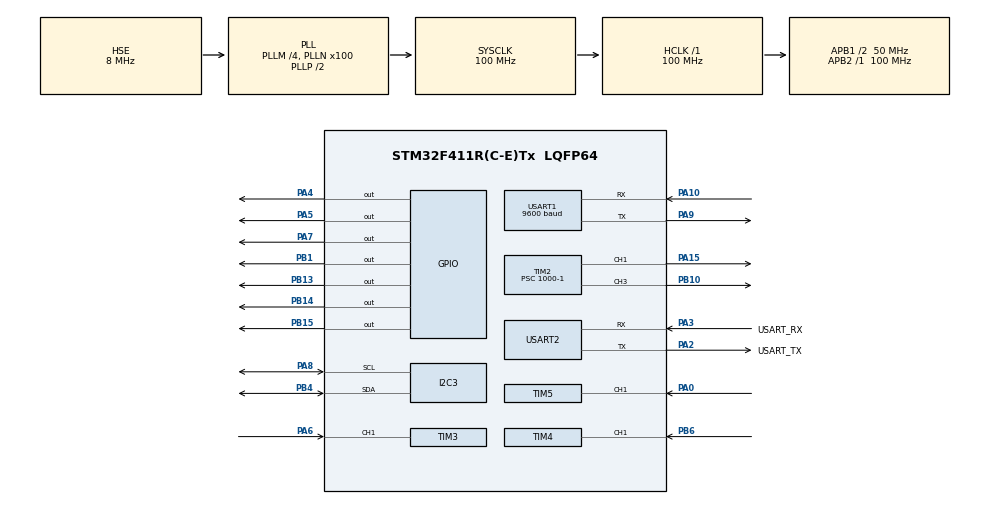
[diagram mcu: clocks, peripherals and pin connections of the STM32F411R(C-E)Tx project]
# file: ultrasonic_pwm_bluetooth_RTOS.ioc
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Dma.Request0=USART1_RX
Dma.USART1_RX.0.Direction=DMA_PERIPH_TO_MEMORY
Dma.USART1_RX.0.FIFOMode=DMA_FIFOMODE_DISABLE
Dma.USART1_RX.0.Instance=DMA2_Stream2
Dma.USART1_RX.0.MemDataAlignment=DMA_MDATAALIGN_BYTE
Dma.USART1_RX.0.MemInc=DMA_MINC_ENABLE
Dma.USART1_RX.0.Mode=DMA_CIRCULAR
Dma.USART1_RX.0.PeriphDataAlignment=DMA_PDATAALIGN_BYTE
Dma.USART1_RX.0.PeriphInc=DMA_PINC_DISABLE
Dma.USART1_RX.0.Priority=DMA_PRIORITY_LOW
FREERTOS.Tasks01=Task_Sonic1,2,128,Sonic1,Default,NULL,Dynamic,NULL,NULL;Task_Enable_PWM,-3,128,Enable_PWM,Default,NULL,Dynamic,NULL,NULL;Task_UART,-3,128,UART,Default,NULL,Dynamic,NULL,NULL;Task_LCD,-2,128,LCD,Default,NULL,Dynamic,NULL,NULL
FREERTOS.configLIBRARY_MAX_SYSCALL_INTERRUPT_PRIORITY=6
FREERTOS.configUSE_NEWLIB_REENTRANT=1
Mcu.Family=STM32F4
Mcu.Name=STM32F411R(C-E)Tx
Mcu.Package=LQFP64
NVIC.DMA2_Stream2_IRQn=true\:6\:0\:false\:false\:true\:true\:false\:true\:true
NVIC.PriorityGroup=NVIC_PRIORITYGROUP_4
NVIC.TIM1_UP_TIM10_IRQn=true\:15\:0\:false\:false\:true\:false\:false\:true\:true
NVIC.TIM3_IRQn=true\:6\:0\:false\:false\:true\:true\:true\:true\:true
NVIC.TIM4_IRQn=true\:6\:0\:false\:false\:true\:true\:true\:true\:true
NVIC.TIM5_IRQn=true\:6\:0\:false\:false\:true\:true\:true\:true\:true
NVIC.TimeBase=TIM1_UP_TIM10_IRQn
NVIC.TimeBaseIP=TIM1
PA0-WKUP.Signal=S_TIM5_CH1
PA10.Mode=Asynchronous
PA10.Signal=USART1_RX
PA13.GPIO_Label=TMS
PA13.Mode=Serial_Wire
PA13.Signal=SYS_JTMS-SWDIO
PA14.GPIO_Label=TCK
PA14.Mode=Serial_Wire
PA14.Signal=SYS_JTCK-SWCLK
PA15.Signal=S_TIM2_CH1_ETR
PA2.GPIO_Label=USART_TX
PA2.Mode=Asynchronous
PA2.Signal=USART2_TX
PA3.GPIO_Label=USART_RX
PA3.Mode=Asynchronous
PA3.Signal=USART2_RX
PA4.Signal=GPIO_Output
PA5.Signal=GPIO_Output
PA6.Signal=S_TIM3_CH1
PA7.Signal=GPIO_Output
PA8.Mode=I2C
PA8.Signal=I2C3_SCL
PA9.Mode=Asynchronous
PA9.Signal=USART1_TX
PB1.Signal=GPIO_Output
PB10.Signal=S_TIM2_CH3
PB13.Signal=GPIO_Output
PB14.Signal=GPIO_Output
PB15.Signal=GPIO_Output
PB3.GPIO_Label=SWO
PB3.Signal=SYS_JTDO-SWO
PB4.Mode=I2C
PB4.Signal=I2C3_SDA
PB6.Signal=S_TIM4_CH1
PC14-OSC32_IN.Signal=RCC_OSC32_IN
PC15-OSC32_OUT.Signal=RCC_OSC32_OUT
PH0\ -\ OSC_IN.Mode=HSE-External-Oscillator
PH0\ -\ OSC_IN.Signal=RCC_OSC_IN
PH1\ -\ OSC_OUT.Mode=HSE-External-Oscillator
PH1\ -\ OSC_OUT.Signal=RCC_OSC_OUT
ProjectManager.HeapSize=0x200
ProjectManager.StackSize=0x400
ProjectManager.TargetToolchain=STM32CubeIDE
RCC.48MHZClocksFreq_Value=50000000
RCC.AHBFreq_Value=100000000
RCC.APB1CLKDivider=RCC_HCLK_DIV2
RCC.APB1Freq_Value=50000000
RCC.APB1TimFreq_Value=100000000
RCC.APB2Freq_Value=100000000
RCC.APB2TimFreq_Value=100000000
RCC.CortexFreq_Value=100000000
RCC.FLatency-AdvancedSettings=FLASH_LATENCY_3
RCC.HCLKFreq_Value=100000000
RCC.HSE_VALUE=8000000
RCC.HSI_VALUE=16000000
RCC.LSE_VALUE=32768
RCC.PLLM=4
RCC.PLLN=100
RCC.PLLSourceVirtual=RCC_PLLSOURCE_HSE
RCC.RCC_RTC_Clock_Source=RCC_RTCCLKSOURCE_LSI
RCC.RCC_RTC_Clock_SourceVirtual=RCC_RTCCLKSOURCE_LSI
RCC.SYSCLKFreq_VALUE=100000000
RCC.SYSCLKSource=RCC_SYSCLKSOURCE_PLLCLK
RCC.VCOOutputFreq_Value=200000000
SH.S_TIM2_CH1_ETR.0=TIM2_CH1,PWM Generation1 CH1
SH.S_TIM2_CH3.0=TIM2_CH3,PWM Generation3 CH3
SH.S_TIM3_CH1.0=TIM3_CH1,Input_Capture1_from_TI1
SH.S_TIM4_CH1.0=TIM4_CH1,Input_Capture1_from_TI1
SH.S_TIM5_CH1.0=TIM5_CH1,Input_Capture1_from_TI1
TIM2.Channel-PWM\ Generation1\ CH1=TIM_CHANNEL_1
TIM2.Channel-PWM\ Generation3\ CH3=TIM_CHANNEL_3
TIM2.Period=10000
TIM2.Prescaler=1000-1
TIM2.Pulse-PWM\ Generation1\ CH1=10000
TIM2.Pulse-PWM\ Generation3\ CH3=10000
TIM3.Channel-Input_Capture1_from_TI1=TIM_CHANNEL_1
TIM3.Prescaler=100-1
TIM4.Channel-Input_Capture1_from_TI1=TIM_CHANNEL_1
TIM4.Prescaler=100-1
TIM5.Channel-Input_Capture1_from_TI1=TIM_CHANNEL_1
TIM5.Prescaler=100-1
USART1.BaudRate=9600
USART1.VirtualMode=VM_ASYNC
USART2.VirtualMode=VM_ASYNC
VP_FREERTOS_VS_CMSIS_V1.Mode=CMSIS_V1
VP_SYS_VS_tim1.Mode=TIM1
VP_TIM3_VS_ClockSourceINT.Mode=Internal
VP_TIM4_VS_ClockSourceINT.Mode=Internal
VP_TIM5_VS_ClockSourceINT.Mode=Internal
board=NUCLEO-F411RE

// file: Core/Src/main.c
/* USER CODE BEGIN Header */
/**
  ******************************************************************************
  * @file           : main.c
  * @brief          : Main program body
  ******************************************************************************
  * @attention
  *
  * Copyright (c) 2023 STMicroelectronics.
  * All rights reserved.
  *
  * This software is licensed under terms that can be found in the LICENSE file
  * in the root directory of this software component.
  * If no LICENSE file comes with this software, it is provided AS-IS.
  *
  ******************************************************************************
  */
/* USER CODE END Header */
#include "main.h"
#include "cmsis_os.h"
#include "dma.h"
#include "i2c.h"
#include "tim.h"
#include "usart.h"
#include "gpio.h"

/* USER CODE BEGIN PV */
extern uint8_t rxData[1];
/* USER CODE END PV */

void SystemClock_Config(void);
void MX_FREERTOS_Init(void);

int main(void)
{

  /* MCU Configuration--------------------------------------------------------*/

  /* Reset of all peripherals, Initializes the Flash interface and the Systick. */
  HAL_Init();

  /* Configure the system clock */
  SystemClock_Config();

  /* Initialize all configured peripherals */
  MX_GPIO_Init();
  MX_DMA_Init();
  MX_TIM2_Init();
  MX_TIM3_Init();
  MX_TIM4_Init();
  MX_TIM5_Init();
  MX_USART2_UART_Init();
  MX_USART1_UART_Init();
  MX_I2C3_Init();
  /* USER CODE BEGIN 2 */
  //HAL_UART_Receive_DMA(&huart1, &rxData, sizeof(rxData));
  HAL_TIM_IC_Start_IT(&htim3, TIM_CHANNEL_1);
  HAL_TIM_IC_Start_IT(&htim4, TIM_CHANNEL_1);
  HAL_TIM_IC_Start_IT(&htim5, TIM_CHANNEL_1);
//  HAL_TIM_IC_Start_IT(&htim10, TIM_CHANNEL_1);
//  HAL_TIM_IC_Start_IT(&htim11, TIM_CHANNEL_1);
  HAL_TIM_PWM_Start(&htim2, TIM_CHANNEL_1);
  HAL_TIM_PWM_Start(&htim2, TIM_CHANNEL_3);
//  HAL_TIM_PWM_Start_DMA(&htim2, TIM_CHANNEL_1, &wheelLeft, sizeof(wheelLeft));
//  HAL_TIM_PWM_Start_DMA(&htim2, TIM_CHANNEL_3, &wheelRight, sizeof(wheelRight));
//  HAL_TIM_PWM_Start_DMA(&htim2, TIM_CHANNEL_1, &rxData, sizeof(rxData));
//  HAL_TIM_PWM_Start_DMA(&htim2, TIM_CHANNEL_3, &rxData, sizeof(rxData));
  HAL_UART_Receive_DMA(&huart1, rxData, sizeof(rxData));

  __HAL_TIM_DISABLE_IT(&htim3, TIM_IT_CC1);
  __HAL_TIM_DISABLE_IT(&htim4, TIM_IT_CC1);
  __HAL_TIM_DISABLE_IT(&htim5, TIM_IT_CC1);
//  __HAL_TIM_DISABLE_IT(&htim10, TIM_IT_CC1);
//  __HAL_TIM_DISABLE_IT(&htim11, TIM_IT_CC1);
  /* USER CODE END 2 */

  /* Call init function for freertos objects (in freertos.c) */
  MX_FREERTOS_Init();

  /* Start scheduler */
  osKernelStart();

  /* We should never get here as control is now taken by the scheduler */
  /* Infinite loop */
  while (1)
  {

  }
}

void SystemClock_Config(void)
{
  RCC_OscInitTypeDef RCC_OscInitStruct = {0};
  RCC_ClkInitTypeDef RCC_ClkInitStruct = {0};

  /** Configure the main internal regulator output voltage
  */
  __HAL_RCC_PWR_CLK_ENABLE();
  __HAL_PWR_VOLTAGESCALING_CONFIG(PWR_REGULATOR_VOLTAGE_SCALE1);

  /** Initializes the RCC Oscillators according to the specified parameters
  * in the RCC_OscInitTypeDef structure.
  */
  RCC_OscInitStruct.OscillatorType = RCC_OSCILLATORTYPE_HSE;
  RCC_OscInitStruct.HSEState = RCC_HSE_ON;
  RCC_OscInitStruct.PLL.PLLState = RCC_PLL_ON;
  RCC_OscInitStruct.PLL.PLLSource = RCC_PLLSOURCE_HSE;
  RCC_OscInitStruct.PLL.PLLM = 4;
  RCC_OscInitStruct.PLL.PLLN = 100;
  RCC_OscInitStruct.PLL.PLLP = RCC_PLLP_DIV2;
  RCC_OscInitStruct.PLL.PLLQ = 4;
  if (HAL_RCC_OscConfig(&RCC_OscInitStruct) != HAL_OK)
  {
    Error_Handler();
  }

  /** Initializes the CPU, AHB and APB buses clocks
  */
  RCC_ClkInitStruct.ClockType = RCC_CLOCKTYPE_HCLK|RCC_CLOCKTYPE_SYSCLK
                              |RCC_CLOCKTYPE_PCLK1|RCC_CLOCKTYPE_PCLK2;
  RCC_ClkInitStruct.SYSCLKSource = RCC_SYSCLKSOURCE_PLLCLK;
  RCC_ClkInitStruct.AHBCLKDivider = RCC_SYSCLK_DIV1;
  RCC_ClkInitStruct.APB1CLKDivider = RCC_HCLK_DIV2;
  RCC_ClkInitStruct.APB2CLKDivider = RCC_HCLK_DIV1;

  if (HAL_RCC_ClockConfig(&RCC_ClkInitStruct, FLASH_LATENCY_3) != HAL_OK)
  {
    Error_Handler();
  }
}

void HAL_TIM_PeriodElapsedCallback(TIM_HandleTypeDef *htim)
{
  if (htim->Instance == TIM1) {
    HAL_IncTick();
  }
}

void Error_Handler(void)
{
  __disable_irq();
  while (1)
  {
  }
}

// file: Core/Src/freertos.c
/* USER CODE BEGIN Header */
/**
  ******************************************************************************
  * File Name          : freertos.c
  * Description        : Code for freertos applications
  ******************************************************************************
  * @attention
  *
  * Copyright (c) 2023 STMicroelectronics.
  * All rights reserved.
  *
  * This software is licensed under terms that can be found in the LICENSE file
  * in the root directory of this software component.
  * If no LICENSE file comes with this software, it is provided AS-IS.
  *
  ******************************************************************************
  */
/* USER CODE END Header */

#include "FreeRTOS.h"
#include "task.h"
#include "main.h"
#include "cmsis_os.h"

/* USER CODE BEGIN Includes */
#include "delay.h"
#include "stdio.h"
#include "dma.h"
#include "tim.h"
#include "usart.h"
#include "gpio.h"
#include "I2C_LCD.h"
#include "i2c.h"
/* USER CODE END Includes */

/* USER CODE BEGIN PTD */
#define TRIG1_PORT       GPIOA
#define TRIG1_PIN        GPIO_PIN_5

#define TRIG2_PORT       GPIOA
#define TRIG2_PIN        GPIO_PIN_4

#define TRIG3_PORT       GPIOA
#define TRIG3_PIN        GPIO_PIN_7

//#define TRIG4_PORT       GPIOC
//#define TRIG4_PIN        GPIO_PIN_9
//
//#define TRIG5_PORT       GPIOC
//#define TRIG5_PIN        GPIO_PIN_8

#define wheelLeftEnFW_PORT      GPIOB
#define wheelLeftEnBW_PORT      GPIOB
#define wheelRightEnBW_PORT     GPIOB
#define wheelRightEnFW_PORT     GPIOB
#define wheelLeftEnFW_PIN      GPIO_PIN_1
#define wheelLeftEnBW_PIN      GPIO_PIN_15
#define wheelRightEnBW_PIN     GPIO_PIN_14
#define wheelRightEnFW_PIN     GPIO_PIN_13

#define speed100	10000
#define speed75		speed100*3/4
#define speed50		speed100/2
#define speed25		speed100/4
/* USER CODE END PTD */

/* USER CODE BEGIN PM */
#ifdef __GNUC__
  /* With GCC, small printf (option LD Linker->Libraries->Small printf
     set to 'Yes') calls __io_putchar() */
  #define PUTCHAR_PROTOTYPE int __io_putchar(int ch)
#else
  #define PUTCHAR_PROTOTYPE int fputc(int ch, FILE *f)
#endif /* __GNUC__ */
PUTCHAR_PROTOTYPE
{
  /* Place your implementation of fputc here */
  /* e.g. write a character to the EVAL_COM1 and Loop until the end of transmission */
  HAL_UART_Transmit(&huart2, (uint8_t *)&ch, 1, 0xFFFF);
  HAL_UART_Transmit(&huart1, (uint8_t *)&ch, 1, 0xFFFF);
  return ch;
}
/* USER CODE END PM */

/* USER CODE BEGIN Variables */
uint32_t INC_Value1_1 = 0;
uint32_t INC_Value1_2 = 0;
uint32_t INC_Value2_1 = 0;
uint32_t INC_Value2_2 = 0;
uint32_t INC_Value3_1 = 0;
uint32_t INC_Value3_2 = 0;
//uint32_t INC_Value4_1 = 0;
//uint32_t INC_Value4_2 = 0;
//uint32_t INC_Value5_1 = 0;
//uint32_t INC_Value5_2 = 0;
uint32_t echoTime1 = 0;
uint32_t echoTime2 = 0;
uint32_t echoTime3 = 0;
//uint32_t echoTime4 = 0;
//uint32_t echoTime5 = 0;
uint8_t captureFlag1 = 0;
uint8_t captureFlag2 = 0;
uint8_t captureFlag3 = 0;
//uint8_t captureFlag4 = 0;
//uint8_t captureFlag5 = 0;
uint8_t distance1;
uint8_t distance2;
uint8_t distance3;
//uint8_t distance4;
//uint8_t distance5;

uint8_t rxData[1] = {0};

char buff1[16];
char buff2[16];

/* USER CODE END Variables */
osThreadId Task_Sonic1Handle;
osThreadId Task_Enable_PWMHandle;
osThreadId Task_UARTHandle;
osThreadId Task_LCDHandle;

/* USER CODE BEGIN FunctionPrototypes */
void HAL_TIM_IC_CaptureCallback(TIM_HandleTypeDef *htim)
{

  if(htim->Instance == TIM3){
    //sonic 1
    if(htim->Channel == HAL_TIM_ACTIVE_CHANNEL_1) // if interrupt source channel
    {
      if(captureFlag1 == 0)        //first value is not capture
      {
        INC_Value1_1 = HAL_TIM_ReadCapturedValue(htim, TIM_CHANNEL_1);      // read first value
        captureFlag1 = 1;  // first captured as true

        //change polarity to falling edge
        __HAL_TIM_SET_CAPTUREPOLARITY(htim, TIM_CHANNEL_1, TIM_INPUTCHANNELPOLARITY_FALLING);
      }
      else if (captureFlag1 == 1) // if first already capture
      {
        INC_Value1_2 = HAL_TIM_ReadCapturedValue(htim, TIM_CHANNEL_1);
        __HAL_TIM_SET_COUNTER(&htim3, 0);

        if(INC_Value1_2 > INC_Value1_1)
        {
          echoTime1 = INC_Value1_2 - INC_Value1_1;
        }
        else if(INC_Value1_1 > INC_Value1_2)  // if overflow occured between value 1 and 2
        {
          echoTime1 = (0xffff - INC_Value1_1) + INC_Value1_2;
        }
        distance1 = echoTime1 / 58;
        captureFlag1 = 0;
        __HAL_TIM_SET_CAPTUREPOLARITY(htim, TIM_CHANNEL_1, TIM_INPUTCHANNELPOLARITY_RISING);
        __HAL_TIM_DISABLE_IT(&htim3, TIM_IT_CC1);
      }
    }
  }

  else if(htim->Instance == TIM4){
    //sonic 2
     if(htim->Channel == HAL_TIM_ACTIVE_CHANNEL_1) // if interrupt source channel
        {
          if(captureFlag2 == 0)        //first value is not capture
          {
            INC_Value2_1 = HAL_TIM_ReadCapturedValue(htim, TIM_CHANNEL_1);      // read first value
            captureFlag2 = 1;  // first captured as true

            //change polarity to falling edge
            __HAL_TIM_SET_CAPTUREPOLARITY(htim, TIM_CHANNEL_1, TIM_INPUTCHANNELPOLARITY_FALLING);
          }
          else if (captureFlag2 == 1) // if first already capture
          {
            INC_Value2_2 = HAL_TIM_ReadCapturedValue(htim, TIM_CHANNEL_1);
            __HAL_TIM_SET_COUNTER(&htim4, 0);

            if(INC_Value2_2 > INC_Value2_1)
            {
              echoTime2 = INC_Value2_2 - INC_Value2_1;
            }
            else if(INC_Value2_1 > INC_Value2_2)  // if overflow occured between value 1 and 2
            {
              echoTime2 = (0xffff - INC_Value2_1) + INC_Value2_2;
            }
            distance2= echoTime2 / 58;
            captureFlag2 = 0;
            __HAL_TIM_SET_CAPTUREPOLARITY(htim, TIM_CHANNEL_1, TIM_INPUTCHANNELPOLARITY_RISING);
            __HAL_TIM_DISABLE_IT(&htim4, TIM_IT_CC1);
          }
        }
  }
     //sonic 3
  else if(htim->Instance == TIM5){
      if(htim->Channel == HAL_TIM_ACTIVE_CHANNEL_1) // if interrupt source channel
         {
           if(captureFlag3 == 0)        //first value is not capture
           {
             INC_Value3_1 = HAL_TIM_ReadCapturedValue(htim, TIM_CHANNEL_1);      // read first value
             captureFlag3 = 1;  // first captured as true

             //change polarity to falling edge
             __HAL_TIM_SET_CAPTUREPOLARITY(htim, TIM_CHANNEL_1, TIM_INPUTCHANNELPOLARITY_FALLING);
           }
           else if (captureFlag3 == 1) // if first already capture
           {
             INC_Value3_2 = HAL_TIM_ReadCapturedValue(htim, TIM_CHANNEL_1);
             __HAL_TIM_SET_COUNTER(&htim5, 0);

             if(INC_Value3_2 > INC_Value3_1)
             {
               echoTime3 = INC_Value3_2 - INC_Value3_1;
             }
             else if(INC_Value3_1 > INC_Value3_2)  // if overflow occured between value 1 and 2
             {
               echoTime3 = (0xffff - INC_Value3_1) + INC_Value3_2;
             }
             distance3 = echoTime3 / 58;
             captureFlag3 = 0;
             __HAL_TIM_SET_CAPTUREPOLARITY(htim, TIM_CHANNEL_1, TIM_INPUTCHANNELPOLARITY_RISING);
             __HAL_TIM_DISABLE_IT(&htim5, TIM_IT_CC1);
           }
         }
  }
//  else if(htim->Instance == TIM10){
//	if(htim->Channel == HAL_TIM_ACTIVE_CHANNEL_1) // if interrupt source channel
//	   {
//		 if(captureFlag4 == 0)        //first value is not capture
//		 {
//		   INC_Value4_1 = HAL_TIM_ReadCapturedValue(htim, TIM_CHANNEL_1);      // read first value
//		   captureFlag4 = 1;  // first captured as true
//
//		   //change polarity to falling edge
//		   __HAL_TIM_SET_CAPTUREPOLARITY(htim, TIM_CHANNEL_1, TIM_INPUTCHANNELPOLARITY_FALLING);
//		 }
//		 else if (captureFlag4 == 1) // if first already capture
//		 {
//		   INC_Value4_2 = HAL_TIM_ReadCapturedValue(htim, TIM_CHANNEL_1);
//		   __HAL_TIM_SET_COUNTER(&htim10, 0);
//
//		   if(INC_Value4_2 > INC_Value4_1)
//		   {
//			 echoTime4 = INC_Value4_2 - INC_Value4_1;
//		   }
//		   else if(INC_Value4_1 > INC_Value4_2)  // if overflow occured between value 1 and 2
//		   {
//			 echoTime4 = (0xffff - INC_Value4_1) + INC_Value4_2;
//		   }
//		   distance4 = echoTime4 / 58;
//		   captureFlag4 = 0;
//		   __HAL_TIM_SET_CAPTUREPOLARITY(htim, TIM_CHANNEL_1, TIM_INPUTCHANNELPOLARITY_RISING);
//		   __HAL_TIM_DISABLE_IT(&htim10, TIM_IT_CC1);
//		 }
//	   }
//    }
//  else if(htim->Instance == TIM11){
//  	if(htim->Channel == HAL_TIM_ACTIVE_CHANNEL_1) // if interrupt source channel
//  	   {
//  		 if(captureFlag5 == 0)        //first value is not capture
//  		 {
//  		   INC_Value5_1 = HAL_TIM_ReadCapturedValue(htim, TIM_CHANNEL_1);      // read first value
//  		   captureFlag5 = 1;  // first captured as true
//
//  		   //change polarity to falling edge
//  		   __HAL_TIM_SET_CAPTUREPOLARITY(htim, TIM_CHANNEL_1, TIM_INPUTCHANNELPOLARITY_FALLING);
//  		 }
//  		 else if (captureFlag5 == 1) // if first already capture
//  		 {
//  		   INC_Value5_2 = HAL_TIM_ReadCapturedValue(htim, TIM_CHANNEL_1);
//  		   __HAL_TIM_SET_COUNTER(&htim11, 0);
//
//  		   if(INC_Value5_2 > INC_Value5_1)
//  		   {
//  			 echoTime5 = INC_Value5_2 - INC_Value5_1;
//  		   }
//  		   else if(INC_Value5_1 > INC_Value5_2)  // if overflow occured between value 1 and 2
//  		   {
//  			 echoTime5 = (0xffff - INC_Value5_1) + INC_Value5_2;
//  		   }
//  		   distance5 = echoTime5 / 58;
//  		   captureFlag5 = 0;
//  		   __HAL_TIM_SET_CAPTUREPOLARITY(htim, TIM_CHANNEL_1, TIM_INPUTCHANNELPOLARITY_RISING);
//  		   __HAL_TIM_DISABLE_IT(&htim11, TIM_IT_CC1);
//  		 }
//  	   }
//      }
}

void HCSR04_Read(int num)
{
  switch(num)
  {
    case 1:
        HAL_GPIO_WritePin(TRIG1_PORT, TRIG1_PIN, 1);    //Trig Pin Hign
        delay_us(10);                                 //delay 10us
        HAL_GPIO_WritePin(TRIG1_PORT, TRIG1_PIN, 0);    //Trig Pin Low
      __HAL_TIM_ENABLE_IT(&htim3, TIM_IT_CC1);      //Set Timer Enable
      break;
    case 2:
        HAL_GPIO_WritePin(TRIG2_PORT, TRIG2_PIN, 1);    //Trig Pin Hign
        delay_us(10);                                 //delay 10us
        HAL_GPIO_WritePin(TRIG2_PORT, TRIG2_PIN, 0);    //Trig Pin Low
      __HAL_TIM_ENABLE_IT(&htim4, TIM_IT_CC1);      //Set Timer Enable
      break;
    case 3:
      HAL_GPIO_WritePin(TRIG3_PORT, TRIG3_PIN, 1);    //Trig Pin Hign
      delay_us(10);                                 //delay 10us
      HAL_GPIO_WritePin(TRIG3_PORT, TRIG3_PIN, 0);    //Trig Pin Low
      __HAL_TIM_ENABLE_IT(&htim5, TIM_IT_CC1);      //Set Timer Enable
      break;
//    case 4:
//	  HAL_GPIO_WritePin(TRIG4_PORT, TRIG4_PIN, 1);    //Trig Pin Hign
//	  delay_us(10);                                 //delay 10us
//	  HAL_GPIO_WritePin(TRIG4_PORT, TRIG4_PIN, 0);    //Trig Pin Low
//	  __HAL_TIM_ENABLE_IT(&htim10, TIM_IT_CC1);      //Set Timer Enable
//	  break;
//    case 5:
//	  HAL_GPIO_WritePin(TRIG5_PORT, TRIG5_PIN, 1);    //Trig Pin Hign
//	  delay_us(10);                                 //delay 10us
//	  HAL_GPIO_WritePin(TRIG5_PORT, TRIG5_PIN, 0);    //Trig Pin Low
//	  __HAL_TIM_ENABLE_IT(&htim11, TIM_IT_CC1);      //Set Timer Enable
//	  break;
  }
}

void MoveFront(void)
{
 __HAL_TIM_SET_COMPARE(&htim2, TIM_CHANNEL_1, speed100);  //left
 __HAL_TIM_SET_COMPARE(&htim2, TIM_CHANNEL_3, speed100);  //right
 HAL_GPIO_WritePin(wheelLeftEnFW_PORT, wheelLeftEnFW_PIN, 1);
 HAL_GPIO_WritePin(wheelRightEnFW_PORT, wheelRightEnFW_PIN, 1);
 HAL_GPIO_WritePin(wheelLeftEnBW_PORT, wheelLeftEnBW_PIN, 0);
 HAL_GPIO_WritePin(wheelRightEnBW_PORT, wheelRightEnBW_PIN, 0);
}
void MoveRight(void)
{
  __HAL_TIM_SET_COMPARE(&htim2, TIM_CHANNEL_1, speed100);
  __HAL_TIM_SET_COMPARE(&htim2, TIM_CHANNEL_3, speed75);
  HAL_GPIO_WritePin(wheelLeftEnFW_PORT, wheelLeftEnFW_PIN, 1);
  HAL_GPIO_WritePin(wheelRightEnFW_PORT, wheelRightEnFW_PIN, 0);
  HAL_GPIO_WritePin(wheelLeftEnBW_PORT, wheelLeftEnBW_PIN, 0);
  HAL_GPIO_WritePin(wheelRightEnBW_PORT, wheelRightEnBW_PIN, 1);
}
void MoveBack(void)
{
  __HAL_TIM_SET_COMPARE(&htim2, TIM_CHANNEL_1, speed100);  //left
  __HAL_TIM_SET_COMPARE(&htim2, TIM_CHANNEL_3, speed100);  //right
  HAL_GPIO_WritePin(wheelLeftEnFW_PORT, wheelLeftEnFW_PIN, 0);
  HAL_GPIO_WritePin(wheelRightEnFW_PORT, wheelRightEnFW_PIN, 0);
  HAL_GPIO_WritePin(wheelLeftEnBW_PORT, wheelLeftEnBW_PIN, 1);
  HAL_GPIO_WritePin(wheelRightEnBW_PORT, wheelRightEnBW_PIN, 1);
}
void MoveLeft(void)
{
  __HAL_TIM_SET_COMPARE(&htim2, TIM_CHANNEL_1, speed75);  //left
  __HAL_TIM_SET_COMPARE(&htim2, TIM_CHANNEL_3, speed100);  //right
  HAL_GPIO_WritePin(wheelLeftEnFW_PORT, wheelLeftEnFW_PIN, 0);
  HAL_GPIO_WritePin(wheelRightEnFW_PORT, wheelRightEnFW_PIN, 1);
  HAL_GPIO_WritePin(wheelLeftEnBW_PORT, wheelLeftEnBW_PIN, 1);
  HAL_GPIO_WritePin(wheelRightEnBW_PORT, wheelRightEnBW_PIN, 0);
}
void MoveStop(void)
{
  __HAL_TIM_SET_COMPARE(&htim2, TIM_CHANNEL_1, 0);  //left
  __HAL_TIM_SET_COMPARE(&htim2, TIM_CHANNEL_3, 0);  //right
  HAL_GPIO_WritePin(wheelLeftEnFW_PORT, wheelLeftEnFW_PIN, 0);
  HAL_GPIO_WritePin(wheelRightEnFW_PORT, wheelRightEnFW_PIN, 0);
  HAL_GPIO_WritePin(wheelLeftEnBW_PORT, wheelLeftEnBW_PIN, 0);
  HAL_GPIO_WritePin(wheelRightEnBW_PORT, wheelRightEnBW_PIN, 0);
}

/* USER CODE END FunctionPrototypes */

void Sonic1(void const * argument);
void Enable_PWM(void const * argument);
void UART(void const * argument);
void LCD(void const * argument);

void MX_FREERTOS_Init(void); /* (MISRA C 2004 rule 8.1) */

/* GetIdleTaskMemory prototype (linked to static allocation support) */
void vApplicationGetIdleTaskMemory( StaticTask_t **ppxIdleTaskTCBBuffer, StackType_t **ppxIdleTaskStackBuffer, uint32_t *pulIdleTaskStackSize );

/* USER CODE BEGIN GET_IDLE_TASK_MEMORY */
static StaticTask_t xIdleTaskTCBBuffer;
static StackType_t xIdleStack[configMINIMAL_STACK_SIZE];

void vApplicationGetIdleTaskMemory( StaticTask_t **ppxIdleTaskTCBBuffer, StackType_t **ppxIdleTaskStackBuffer, uint32_t *pulIdleTaskStackSize )
{
  *ppxIdleTaskTCBBuffer = &xIdleTaskTCBBuffer;
  *ppxIdleTaskStackBuffer = &xIdleStack[0];
  *pulIdleTaskStackSize = configMINIMAL_STACK_SIZE;
  /* place for user code */
}
/* USER CODE END GET_IDLE_TASK_MEMORY */

void MX_FREERTOS_Init(void) {
  /* USER CODE BEGIN Init */
	lcd_init();
  /* USER CODE END Init */

  /* Create the thread(s) */
  /* definition and creation of Task_Sonic1 */
  osThreadDef(Task_Sonic1, Sonic1, osPriorityHigh, 0, 128);
  Task_Sonic1Handle = osThreadCreate(osThread(Task_Sonic1), NULL);

  /* definition and creation of Task_Enable_PWM */
  osThreadDef(Task_Enable_PWM, Enable_PWM, osPriorityIdle, 0, 128);
  Task_Enable_PWMHandle = osThreadCreate(osThread(Task_Enable_PWM), NULL);

  /* definition and creation of Task_UART */
  osThreadDef(Task_UART, UART, osPriorityIdle, 0, 128);
  Task_UARTHandle = osThreadCreate(osThread(Task_UART), NULL);

  /* definition and creation of Task_LCD */
  osThreadDef(Task_LCD, LCD, osPriorityLow, 0, 128);
  Task_LCDHandle = osThreadCreate(osThread(Task_LCD), NULL);

}

void Sonic1(void const * argument)
{
  /* USER CODE BEGIN Sonic1 */
  /* Infinite loop */
  for(;;)
  {
	//if(flag==1){
    HCSR04_Read(1);
    osDelay(20);
    HCSR04_Read(2);
    osDelay(20);
    HCSR04_Read(3);
    osDelay(20);
//    HCSR04_Read(4);
//	osDelay(30);
//	HCSR04_Read(5);
//	osDelay(15);
    //flag = 0;} osDelay(1);
  }
  /* USER CODE END Sonic1 */
}

void Enable_PWM(void const * argument)
{
  /* USER CODE BEGIN Enable_PWM */
  /* Infinite loop */
  for(;;)
  {
	if(rxData[0] == 'x'){
		if(distance2<12) MoveBack();
		else if(distance2<33 && distance3 > 50) MoveRight();
		else if(distance2<33 && distance1 > 50) MoveLeft();
		else if(distance1 < 20) MoveRight();
		else if(distance3 < 18) MoveLeft();
		else MoveFront();
	}
	else MoveStop();
	osDelay(20);
  }
  /* USER CODE END Enable_PWM */
}

void UART(void const * argument)
{
  /* USER CODE BEGIN UART */
  /* Infinite loop */
  for(;;)
  {
    printf("%3dcm  %3dcm  %3dcm\r\n",distance1, distance2, distance3);
    osDelay(200);
  }
  /* USER CODE END UART */
}

void LCD(void const * argument)
{
  /* USER CODE BEGIN LCD */
  /* Infinite loop */
  for(;;)
  {
	  sprintf(buff1, "ld:%3d rd:%3d", distance1, distance3);
	  lcd_put_cur(0,0);
	  lcd_send_string(buff1);
	  sprintf(buff2, "fd:%3d", distance2);
	  lcd_put_cur(1,0);
	  lcd_send_string(buff2);
	  osDelay(100);
  }
  /* USER CODE END LCD */
}
